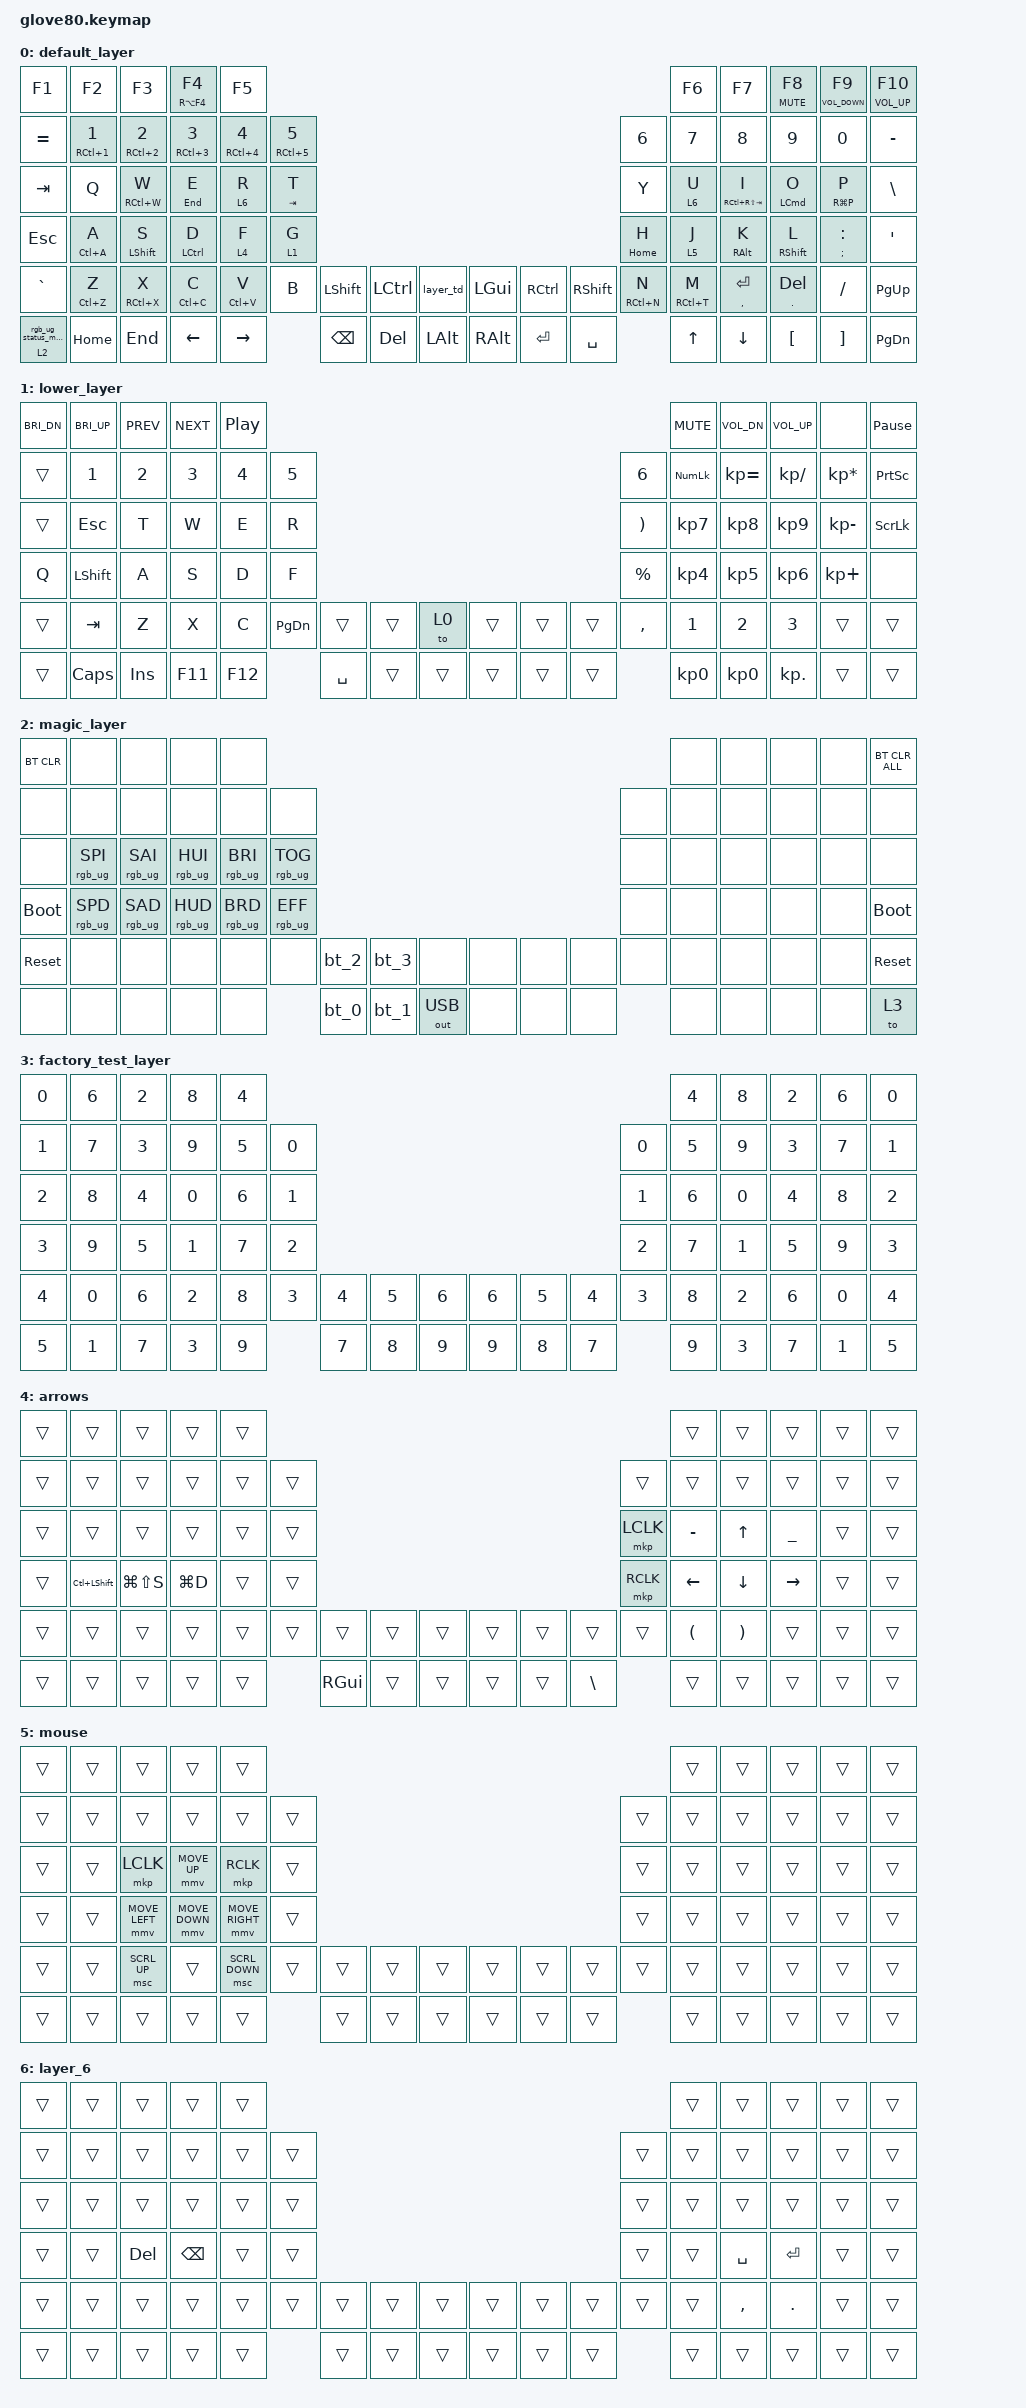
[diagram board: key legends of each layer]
/*
 * Copyright (c) 2020 The ZMK Contributors
 *
 * SPDX-License-Identifier: MIT
 */

#include <behaviors.dtsi>
#include <dt-bindings/zmk/bt.h>
#include <dt-bindings/zmk/keys.h>
#include <dt-bindings/zmk/outputs.h>
#include <dt-bindings/zmk/pointing.h>
#include <dt-bindings/zmk/rgb.h>

#define HYPER LC(LS(LG(LALT)))

// layers

#define DEFAULT 0
#define LOWER 1
#define MAGIC 2
#define FACTORY_TEST 3

&mmv {
};

&msc {
};

/ {
    behaviors {
        // For the "layer" key, it'd nice to be able to use it as either a shift or a toggle.
        // Configure it as a tap dance, so the first tap (or hold) is a &mo and the second tap is a &to

        layer_td: tap_dance_0 {
            compatible = "zmk,behavior-tap-dance";
            label = "LAYER_TAP_DANCE";
            #binding-cells = <0>;
            tapping-term-ms = <200>;
            bindings = <&mo 1>, <&to 1>;
        };

        magic: magic_hold_tap {
            compatible = "zmk,behavior-hold-tap";
            label = "MAGIC_HOLD_TAP";
            #binding-cells = <2>;
            flavor = "tap-preferred";
            tapping-term-ms = <200>;
            bindings = <&mo>, <&rgb_ug_status_macro>;
        };

        ben_hold: ben_hold {
            compatible = "zmk,behavior-hold-tap";
            label = "BEN_HOLD";
            bindings = <&kp>, <&kp>;

            #binding-cells = <2>;
            tapping-term-ms = <400>;
            quick-tap-ms = <400>;
            flavor = "tap-preferred";
            require-prior-idle-ms = <400>;
        };
    };

    macros {
        rgb_ug_status_macro: rgb_ug_status_macro_0 {
            label = "RGB_UG_STATUS";
            compatible = "zmk,behavior-macro";
            #binding-cells = <0>;
            bindings = <&rgb_ug RGB_STATUS>;
        };

        bt_0: bt_profile_macro_0 {
            label = "BT_0";
            compatible = "zmk,behavior-macro";
            #binding-cells = <0>;
            bindings = <&out OUT_BLE &bt BT_SEL 0>;
        };

        bt_1: bt_profile_macro_1 {
            label = "BT_1";
            compatible = "zmk,behavior-macro";
            #binding-cells = <0>;
            bindings = <&out OUT_BLE &bt BT_SEL 1>;
        };

        bt_2: bt_profile_macro_2 {
            label = "BT_2";
            compatible = "zmk,behavior-macro";
            #binding-cells = <0>;
            bindings = <&out OUT_BLE &bt BT_SEL 2>;
        };

        bt_3: bt_profile_macro_3 {
            label = "BT_3";
            compatible = "zmk,behavior-macro";
            #binding-cells = <0>;
            bindings = <&out OUT_BLE &bt BT_SEL 3>;
        };

        macro_cmd: macro_cmd {
            compatible = "zmk,behavior-macro";
            #binding-cells = <0>;
            bindings = <&kp C &kp M &kp D>;
            label = "MACRO_CMD";
        };

        macro_powershell: macro_powershell {
            compatible = "zmk,behavior-macro";
            #binding-cells = <0>;
            bindings = <&kp P &kp O &kp W &kp E &kp R &kp S &kp H &kp E &kp L &kp L>;
            label = "MACRO_POWERSHELL";
        };
    };

    keymap {
        compatible = "zmk,keymap";

        default_layer {
            // ---------------------------------------------------------------------------------------------------------------------------------
            // |  F1   |  F2 |  F3 |  F4  |  F5  |                                                               |  F6   |  F7   |  F8  |   F9  |  F10 |
            // |  =    |  1  |  2  |  3   |  4   |  5   |                                                 |  6   |   7   |   8   |  9   |   0   |   -  |
            // |  TAB  |  Q  |  W  |  E   |  R   |  T   |                                                 |  Y   |   U   |   I   |  O   |   P   |   \  |
            // |  ESC  |  A  |  S  |  D   |  F   |  G   |                                                 |  H   |   J   |   K   |  L   |   ;   |   '  |
            // |   `   |  Z  |  X  |  C   |  V   |  B   | LSHFT | LCTRL | LOWER | | LGUI  | RCTRL | RSHFT |  N   |   M   |   ,   |  .   |   /   | PGUP |
            // | MAGIC | HOME| END | LEFT | RIGHT|      | BSPC  | DEL   | LALT  | | RALT  | RET   | SPACE |      |  UP   | DOWN  |  [   |   ]   | PGDN |

            bindings = <
&kp F1      &kp F2               &kp F3                  &ben_hold RA(F4) F4       &kp F5                                                                                                                             &kp F6             &kp F7                   &ben_hold C_MUTE F8      &ben_hold C_VOLUME_DOWN F9  &ben_hold C_VOLUME_UP F10
&kp EQUAL   &ben_hold RC(N1) N1  &ben_hold RC(N2) N2     &ben_hold RC(N3) N3       &ben_hold RC(N4) N4  &ben_hold RC(N5) N5                                                                        &kp N6             &kp N7             &kp N8                   &kp N9                   &kp N0                      &kp MINUS
&kp TAB     &kp Q                &ben_hold RC(W) W       &ben_hold END E           &lt 6 R              &ben_hold TAB T                                                                            &kp Y              &lt 6 U            &ben_hold RC(RS(TAB)) I  &ben_hold LCMD O         &ben_hold RG(P) P           &kp BSLH
&kp ESC     &ben_hold LC(A) A    &ben_hold LEFT_SHIFT S  &ben_hold LEFT_CONTROL D  &lt 4 F              &lt 1 G                                                                                    &ben_hold HOME H   &lt 5 J            &ben_hold RIGHT_ALT K    &ben_hold RIGHT_SHIFT L  &ben_hold SEMICOLON COLON   &kp SQT
&kp GRAVE   &ben_hold LC(Z) Z    &ben_hold RC(X) X       &ben_hold LC(C) C         &ben_hold LC(V) V    &kp B                &kp LSHFT  &kp LCTRL  &layer_td  &kp LGUI       &kp RCTRL  &kp RSHFT  &ben_hold RC(N) N  &ben_hold RC(T) M  &ben_hold COMMA RETURN   &ben_hold DOT DELETE     &kp FSLH                    &kp PG_UP
&magic 2 0  &kp HOME             &kp END                 &kp LEFT                  &kp RIGHT                                 &kp BSPC   &kp DEL    &kp LALT   &kp RIGHT_ALT  &kp RET    &kp SPACE                     &kp UP             &kp DOWN                 &kp LBKT                 &kp RBKT                    &kp PG_DN
            >;
        };

        lower_layer {
            bindings = <
&kp C_BRI_DN  &kp C_BRI_UP    &kp C_PREV    &kp C_NEXT    &kp C_PP                                                                                  &kp C_MUTE    &kp C_VOL_DN  &kp C_VOL_UP   &none            &kp PAUSE_BREAK
&trans        &kp NUMBER_1    &kp NUMBER_2  &kp NUMBER_3  &kp NUMBER_4  &kp N5                                                        &kp NUMBER_6  &kp KP_NUM    &kp KP_EQUAL  &kp KP_DIVIDE  &kp KP_MULTIPLY  &kp PSCRN
&trans        &kp ESCAPE      &kp T         &kp W         &kp E         &kp R                                                         &kp RPAR      &kp KP_N7     &kp KP_N8     &kp KP_N9      &kp KP_MINUS     &kp SLCK
&kp Q         &kp LEFT_SHIFT  &kp A         &kp S         &kp D         &kp F                                                         &kp PRCNT     &kp KP_N4     &kp KP_N5     &kp KP_N6      &kp KP_PLUS      &none
&trans        &kp TAB         &kp Z         &kp X         &kp C         &kp PG_DN  &trans     &trans  &to 0   &trans  &trans  &trans  &kp COMMA     &kp NUMBER_1  &kp NUMBER_2  &kp NUMBER_3   &trans           &trans
&trans        &kp CAPS        &kp INS       &kp F11       &kp F12                  &kp SPACE  &trans  &trans  &trans  &trans  &trans                &kp KP_N0     &kp KP_N0     &kp KP_DOT     &trans           &trans
            >;
        };

        magic_layer {
            bindings = <
&bt BT_CLR   &none            &none            &none            &none                                                                                     &none  &none  &none  &none  &bt BT_CLR_ALL
&none        &none            &none            &none            &none            &none                                                             &none  &none  &none  &none  &none  &none
&none        &rgb_ug RGB_SPI  &rgb_ug RGB_SAI  &rgb_ug RGB_HUI  &rgb_ug RGB_BRI  &rgb_ug RGB_TOG                                                   &none  &none  &none  &none  &none  &none
&bootloader  &rgb_ug RGB_SPD  &rgb_ug RGB_SAD  &rgb_ug RGB_HUD  &rgb_ug RGB_BRD  &rgb_ug RGB_EFF                                                   &none  &none  &none  &none  &none  &bootloader
&sys_reset   &none            &none            &none            &none            &none            &bt_2  &bt_3  &none         &none  &none  &none  &none  &none  &none  &none  &none  &sys_reset
&none        &none            &none            &none            &none                             &bt_0  &bt_1  &out OUT_USB  &none  &none  &none         &none  &none  &none  &none  &to 3
            >;
        };

        factory_test_layer {
            bindings = <
&kp N0  &kp N6  &kp N2  &kp N8  &kp N4                                                                  &kp N4  &kp N8  &kp N2  &kp N6  &kp N0
&kp N1  &kp N7  &kp N3  &kp N9  &kp N5  &kp N0                                                  &kp N0  &kp N5  &kp N9  &kp N3  &kp N7  &kp N1
&kp N2  &kp N8  &kp N4  &kp N0  &kp N6  &kp N1                                                  &kp N1  &kp N6  &kp N0  &kp N4  &kp N8  &kp N2
&kp N3  &kp N9  &kp N5  &kp N1  &kp N7  &kp N2                                                  &kp N2  &kp N7  &kp N1  &kp N5  &kp N9  &kp N3
&kp N4  &kp N0  &kp N6  &kp N2  &kp N8  &kp N3  &kp N4  &kp N5  &kp N6  &kp N6  &kp N5  &kp N4  &kp N3  &kp N8  &kp N2  &kp N6  &kp N0  &kp N4
&kp N5  &kp N1  &kp N7  &kp N3  &kp N9          &kp N7  &kp N8  &kp N9  &kp N9  &kp N8  &kp N7          &kp N9  &kp N3  &kp N7  &kp N1  &kp N5
            >;
        };

        arrows {
            bindings = <
&trans  &trans              &trans         &trans     &trans                                                                                   &trans                &trans                 &trans     &trans  &trans
&trans  &trans              &trans         &trans     &trans  &trans                                                                &trans     &trans                &trans                 &trans     &trans  &trans
&trans  &trans              &trans         &trans     &trans  &trans                                                                &mkp LCLK  &kp MINUS             &kp UP_ARROW           &kp UNDER  &trans  &trans
&trans  &kp LC(LEFT_SHIFT)  &kp LG(LS(S))  &kp LG(D)  &trans  &trans                                                                &mkp RCLK  &kp LEFT              &kp DOWN               &kp RIGHT  &trans  &trans
&trans  &trans              &trans         &trans     &trans  &trans  &trans         &trans  &trans  &trans  &trans  &trans         &trans     &kp LEFT_PARENTHESIS  &kp RIGHT_PARENTHESIS  &trans     &trans  &trans
&trans  &trans              &trans         &trans     &trans          &kp RIGHT_GUI  &trans  &trans  &trans  &trans  &kp BACKSLASH             &trans                &trans                 &trans     &trans  &trans
            >;
        };

        mouse {
            bindings = <
&trans  &trans  &trans          &trans          &trans                                                                           &trans  &trans  &trans  &trans  &trans
&trans  &trans  &trans          &trans          &trans           &trans                                                  &trans  &trans  &trans  &trans  &trans  &trans
&trans  &trans  &mkp LCLK       &mmv MOVE_UP    &mkp RCLK        &trans                                                  &trans  &trans  &trans  &trans  &trans  &trans
&trans  &trans  &mmv MOVE_LEFT  &mmv MOVE_DOWN  &mmv MOVE_RIGHT  &trans                                                  &trans  &trans  &trans  &trans  &trans  &trans
&trans  &trans  &msc SCRL_UP    &trans          &msc SCRL_DOWN   &trans  &trans  &trans  &trans  &trans  &trans  &trans  &trans  &trans  &trans  &trans  &trans  &trans
&trans  &trans  &trans          &trans          &trans                   &trans  &trans  &trans  &trans  &trans  &trans          &trans  &trans  &trans  &trans  &trans
            >;
        };

        layer_6 {
            bindings = <
&trans  &trans  &trans      &trans         &trans                                                                  &trans  &trans     &trans      &trans  &trans
&trans  &trans  &trans      &trans         &trans  &trans                                                  &trans  &trans  &trans     &trans      &trans  &trans
&trans  &trans  &trans      &trans         &trans  &trans                                                  &trans  &trans  &trans     &trans      &trans  &trans
&trans  &trans  &kp DELETE  &kp BACKSPACE  &trans  &trans                                                  &trans  &trans  &kp SPACE  &kp ENTER   &trans  &trans
&trans  &trans  &trans      &trans         &trans  &trans  &trans  &trans  &trans  &trans  &trans  &trans  &trans  &trans  &kp COMMA  &kp PERIOD  &trans  &trans
&trans  &trans  &trans      &trans         &trans          &trans  &trans  &trans  &trans  &trans  &trans          &trans  &trans     &trans      &trans  &trans
            >;
        };
    };
};
